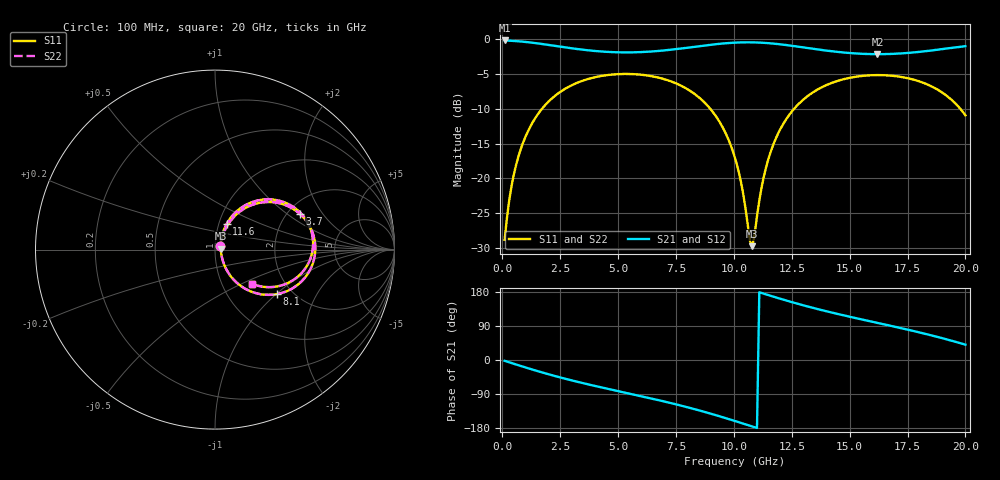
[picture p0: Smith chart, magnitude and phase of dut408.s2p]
! Touchstone file exported from HFSS 2026.1.0
!  File:  C:/ffzhzh/LocalFiles/Ansys_Project_Files/temp_train_TSV_RDL_408_1783093752_46604.aedt
!  Generated:  12:02:56 AM Jul  4, 2026
!  Design:  TSV_RDL
!  Project:  temp_train_TSV_RDL_408_1783093752_46604
! Variables:
!  h_bsmrdl = 4.23um
!  h_ox = 20um
!  h_rdl = 5um
!  h_sub = 62.4um
!  h_tmrdl = 4.34um
!  h_tsv = 62.4um
!  h_via = 3um
!  l_bsmrdl = 626.4um
!  l_sub = 5667.68um
!  l_tmrdl = 822.97um
!  m_sub = 200um
!  pitch = 39.91um
!  r_tsv = 6.47um
!  s_tmrdl = 10um
!  w_bsmrdl = 18.92um
!  w_sub = 500um
!  w_tmrdl = 13.28um
!  x_tsv_center1 = 829.61um
!  x_tsv_center2 = 1474.93um
!  x_tsv_center3 = 2311.18um
!  x_tsv_center4 = 2956.5um
!  x_tsv_center5 = 3792.75um
!  x_tsv_center6 = 4438.07um
# GHz S MA R 50.000000
! Terminal data exported
! Port[1] = TM_RDL1_1_T1
! Port[2] = TM_RDL5_1_T1
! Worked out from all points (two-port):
!   200 points, 100 MHz to 20 GHz, reference 50 ohm
!   highest |S21| = -0.26 dB at 100 MHz (marker M1); lowest = -2.2 dB at 16.2 GHz (marker M2)
!   |S21| within 3 dB of the highest: start of sweep to end of sweep
!   lowest |S11| = -29.7 dB at 10.8 GHz (marker M3), VSWR 1.07, Z = 53.3 + j0.649 ohm
!   |S11| at or under -10 dB: start of sweep to 1.723 GHz; 8.972 GHz to 12.61 GHz (3.64 GHz wide, 33.7 % of centre); 19.77 GHz to end of sweep
!   |S22| runs from -29.6 to -5.0 dB; largest |S21 - S12| = 9.1e-15
!   S11 on the Smith chart (normalised r, x): 100 MHz: 1.06, +0.04; 3.7 GHz: 2.34, +1.25; 8.1 GHz: 1.67, -1.01; 11.6 GHz: 1.09, +0.32; 20 GHz: 1.39, -0.58
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0.1  0.03646 34.1  0.9703 -2.1  0.9703 -2.1  0.03646 34.1
! Gamma 0 0 0 0
! Port Impedance 50 0 50 0
0.5  0.1071 62.5  0.9626 -10.0  0.9626 -10.0  0.1071 62.5
1.1  0.2162 59.6  0.9434 -21.5  0.9434 -21.5  0.2162 59.6
2.1  0.3682 45.4  0.8964 -39.4  0.8964 -39.4  0.3682 45.4
3.5  0.5021 25.2  0.8322 -61.3  0.8322 -61.3  0.5021 25.3
3.7  0.5142 22.5  0.8252 -64.2  0.8252 -64.2  0.5142 22.5
5.3  0.5591 1.7  0.7971 -86.1  0.7971 -86.1  0.5591 1.7
6.8  0.5234 -17.7  0.8178 -106.7  0.8178 -106.7  0.5234 -17.7
8.1  0.4244 -35.8  0.8655 -126.4  0.8655 -126.4  0.4244 -35.8
9.3  0.267 -53.1  0.9154 -147.0  0.9154 -147.0  0.2671 -53.0
10.1  0.1313 -60.3  0.937 -162.0  0.937 -162.0  0.1314 -60.1
10.4  0.07833 -55.7  0.9405 -167.8  0.9405 -167.8  0.07846 -55.5
10.7  0.03547 -19.6  0.941 -173.6  0.941 -173.6  0.03576 -19.4
10.8  0.0328 10.7  0.9405 -175.5  0.9405 -175.5  0.03312 10.6
11.2  0.08666 62.9  0.9352 176.8  0.9352 176.8  0.08678 62.7
11.6  0.1567 65.6  0.9249 169.1  0.9249 169.1  0.1568 65.5
12.3  0.2711 58.3  0.8981 156.3  0.8981 156.3  0.2711 58.2
13.4  0.4113 42.9  0.8469 137.8  0.8469 137.8  0.4114 42.9
16.2  0.5486 6.6  0.7743 97.9  0.7743 97.9  0.5486 6.6
16.7  0.5449 0.4  0.7764 91.2  0.7764 91.2  0.5449 0.4
18.6  0.4503 -24.1  0.8252 64.0  0.8252 64.0  0.4503 -24.1
20  0.2829 -42.6  0.8827 40.5  0.8827 40.5  0.2829 -42.6
